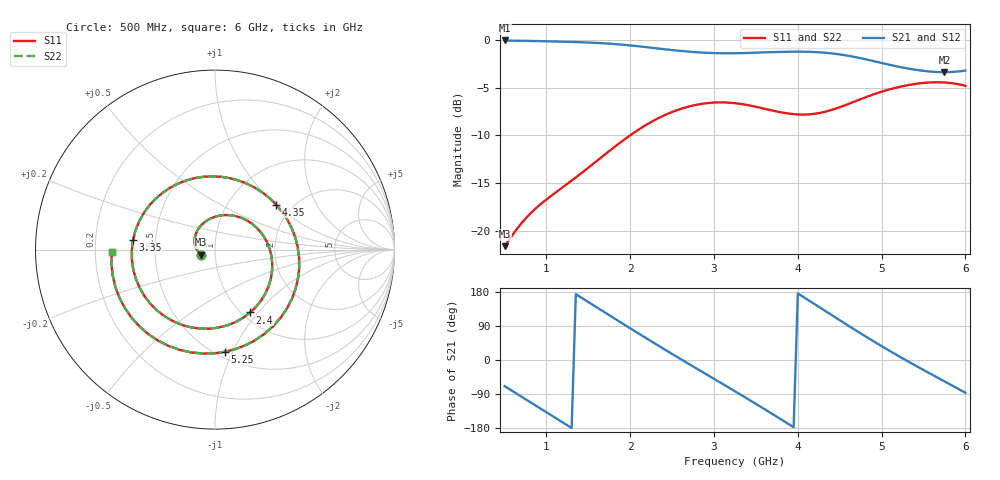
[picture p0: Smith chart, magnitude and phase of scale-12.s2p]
! Touchstone file from project sampleWidthScale-12
! Exported from HFSS-IE 2014.0.2
! Variables:
!  $perm = 6
!  impedance = 157.9ohm
!  insulationThickness = 0in
!  length = 4in
!  portSize = 1mm
!  sampleSide = 1.5in
!  sampleThickness = 0.25in
!  scale = 12
!  spacing = 0.25in
!  wireDiam = 0.125in
!  wireRadius = 0.0625in
# GHZ S MA R 157.900000
! Terminal data exported
! Port[1] = Rectangle2_T1
! Port[2] = Rectangle2_T2
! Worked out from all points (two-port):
!   111 points, 500 MHz to 6 GHz, reference 157.9 ohm
!   highest |S21| = -0.04 dB at 500 MHz (marker M1); lowest = -3.4 dB at 5.75 GHz (marker M2)
!   |S21| within 3 dB of the highest: start of sweep to 5.35 GHz
!   lowest |S11| = -21.6 dB at 500 MHz (marker M3), VSWR 1.18, Z = 135 - j7.88 ohm
!   |S11| at or under -10 dB: start of sweep to 1.999 GHz
!   |S22| runs from -21.6 to -4.4 dB; largest |S21 - S12| = 1.5e-14
!   S11 on the Smith chart (normalised r, x): 500 MHz: 0.85, -0.05; 2.4 GHz: 1.09, -0.91; 3.35 GHz: 0.37, +0.05; 4.35 GHz: 1.65, +1.01; 5.25 GHz: 0.55, -0.93; 6 GHz: 0.27, -0.01
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0.5  0.08276 -159.5  0.9957 -69.1  0.9957 -69.1  0.08278 -159.4
0.75  0.1156 165.8  0.9906 -103.5  0.9906 -103.5  0.1155 166.0
1.05  0.1514 124.7  0.9846 -144.9  0.9846 -144.9  0.1514 124.8
1.25  0.1762 97.1  0.9794 -172.5  0.9794 -172.5  0.1762 97.3
1.45  0.2055 69.5  0.973 159.8  0.973 159.8  0.2056 69.7
1.7  0.2514 35.0  0.9608 125.1  0.9608 125.1  0.2515 35.1
1.9  0.294 7.3  0.9463 97.4  0.9463 97.4  0.2941 7.3
2.1  0.3389 -20.2  0.9276 69.9  0.9276 69.9  0.3389 -20.2
2.35  0.3919 -54.1  0.9014 35.9  0.9014 35.9  0.392 -54.1
2.4  0.4015 -60.8  0.8962 29.2  0.8962 29.2  0.4016 -60.8
2.8  0.4583 -113.7  0.8632 -23.6  0.8632 -23.6  0.4582 -113.7
3.25  0.4663 -173.3  0.8532 -82.6  0.8532 -82.6  0.4662 -173.2
3.35  0.4599 173.3  0.8549 -95.8  0.8549 -95.8  0.4598 173.4
3.8  0.4174 112.5  0.8669 -156.7  0.8669 -156.7  0.4171 112.5
4  0.407 85.0  0.8694 175.6  0.8694 175.6  0.4071 85.0
4.2  0.4102 57.3  0.8654 147.5  0.8654 147.5  0.4102 57.3
4.35  0.4232 36.4  0.8562 126.2  0.8562 126.2  0.4229 36.4
4.7  0.4801 -12.2  0.8119 77.1  0.8119 77.1  0.4794 -12.1
5.1  0.5518 -65.5  0.741 23.6  0.741 23.6  0.551 -65.4
5.25  0.5724 -84.6  0.7179 4.5  0.7179 4.5  0.5715 -84.5
5.75  0.5988 -146.8  0.6787 -56.4  0.6787 -56.4  0.5981 -146.7
6  0.5753 -178.6  0.6919 -86.5  0.6919 -86.5  0.5754 -178.6
